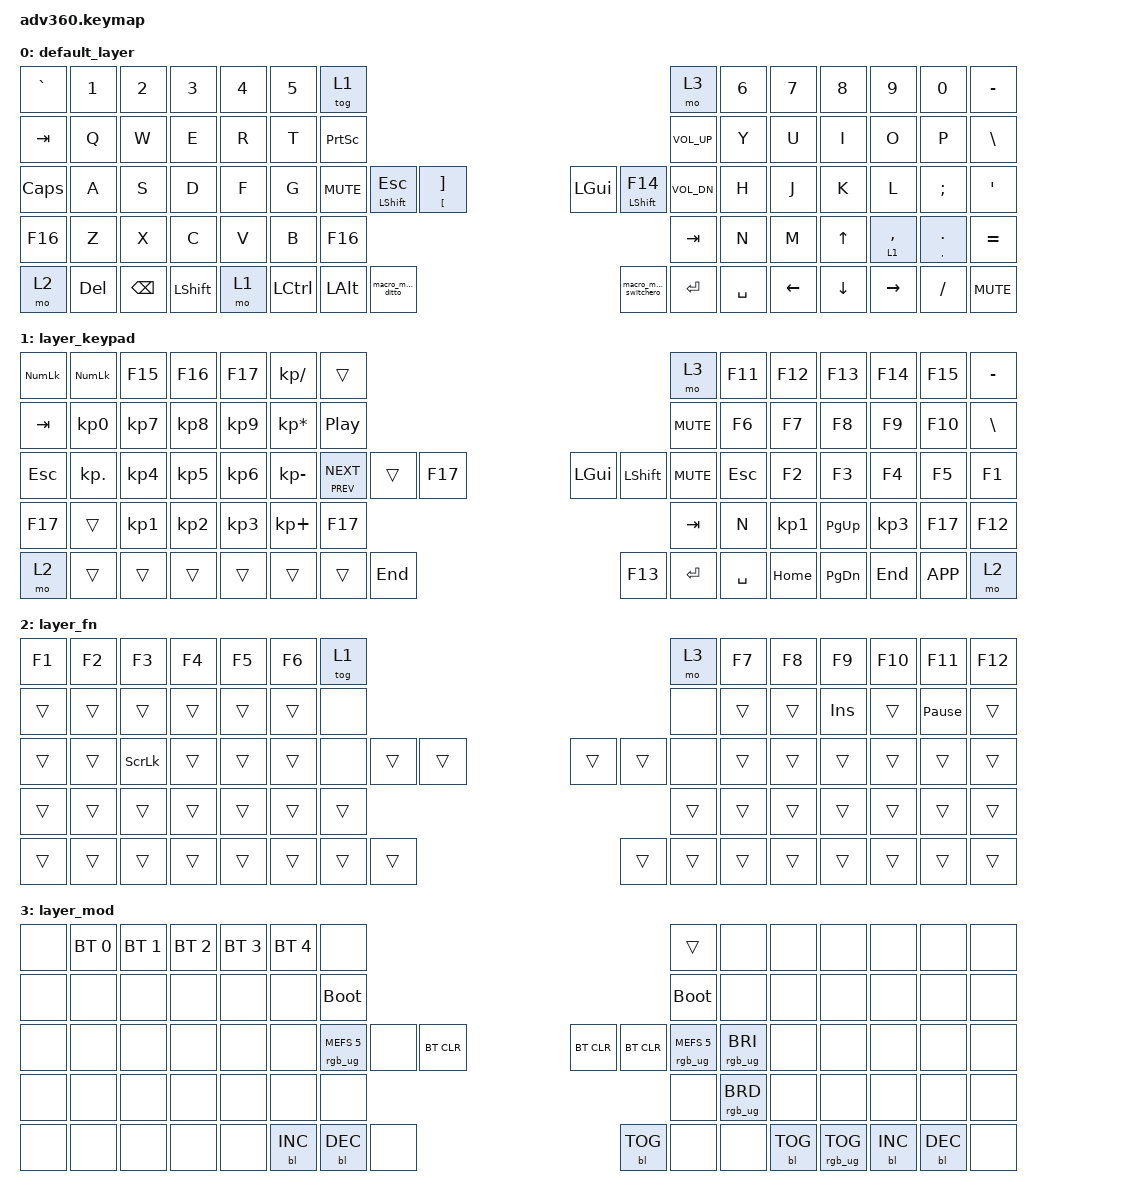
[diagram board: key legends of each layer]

/*
 * Copyright (c) 2020 The ZMK Contributors
 *
 * SPDX-License-Identifier: MIT
 */


/* THIS FILE WAS GENERATED!
 *
 * This file was generated automatically. You may or may not want to
 * edit it directly.
 */

#include <behaviors.dtsi>
#include <dt-bindings/zmk/keys.h>
#include <dt-bindings/zmk/bt.h>
#include <dt-bindings/zmk/rgb.h>
#include <dt-bindings/zmk/backlight.h>

/ {
  behaviors {
    #include "macros.dtsi"
      #include "version.dtsi"
      #ifndef VERSION_MACRO
      macro_ver: macro_ver {
        compatible = "zmk,behavior-macro";
        label = "macro_version";
        #binding-cells = <0>;
        bindings = <&kp RET>;
      };
      #endif

    hm: homerow_mods {
        compatible = "zmk,behavior-hold-tap";
        label = "HOMEROW_MODS";
        #binding-cells = <2>;
        tapping-term-ms = <200>;
        quick_tap_ms = <175>;
        flavor = "tap-preferred";
        bindings = <&kp>, <&kp>;
    };
  };

    keymap {
        compatible = "zmk,keymap";


        default_layer {
            bindings = <
 &kp GRAVE   &kp N1         &kp N2          &kp N3  &kp N4  &kp N5                     &tog 1                                                                                                                          &mo 3  &kp N6    &kp N7    &kp N8       &kp N9            &kp N0   &kp MINUS
   &kp TAB    &kp Q          &kp W           &kp E   &kp R   &kp T            &kp PRINTSCREEN                                                                                                                   &kp C_VOL_UP   &kp Y     &kp U     &kp I        &kp O             &kp P    &kp BSLH
  &kp CAPS    &kp A          &kp S           &kp D   &kp F   &kp G                 &kp C_MUTE  &mt LEFT_SHIFT ESC  &mt LEFT_BRACKET RIGHT_BRACKET                                &kp LGUI  &mt LEFT_SHIFT F14   &kp C_VOL_DN   &kp H     &kp J     &kp K        &kp L          &kp SEMI     &kp SQT
   &kp F16    &kp Z          &kp X           &kp C   &kp V   &kp B                                                                        &kp F16                                 &kp TAB                                      &kp N     &kp M    &kp UP  &lt 1 COMMA  &mt COMMA PERIOD   &kp EQUAL
     &mo 2  &kp DEL  &kp BACKSPACE  &kp LEFT_SHIFT   &mo 1                          &kp LCTRL        &kp LEFT_ALT              &macro_macro_ditto                  &macro_macro_switchero           &kp ENTER      &kp SPACE          &kp LEFT  &kp DOWN    &kp RIGHT         &kp SLASH  &kp C_MUTE
            >;
        };

        layer_keypad {
            bindings = <
 &kp KP_NUM  &kp KP_NUMLOCK    &kp F15    &kp F16    &kp F17     &kp KP_SLASH                             &trans                                                                  &mo 3  &kp F11    &kp F12    &kp F13    &kp F14    &kp F15  &kp MINUS
    &kp TAB       &kp KP_N0  &kp KP_N7  &kp KP_N8  &kp KP_N9  &kp KP_MULTIPLY                   &kp C_PLAY_PAUSE                                                             &kp C_MUTE   &kp F6     &kp F7     &kp F8     &kp F9    &kp F10   &kp BSLH
    &kp ESC      &kp KP_DOT  &kp KP_N4  &kp KP_N5  &kp KP_N6     &kp KP_MINUS            &mt C_PREV C_NEXT  &trans  &kp F17                  &kp LGUI  &kp LEFT_SHIFT  &kp C_MUTE  &kp ESC     &kp F2     &kp F3     &kp F4     &kp F5     &kp F1
    &kp F17          &trans  &kp KP_N1  &kp KP_N2  &kp KP_N3      &kp KP_PLUS                                             &kp F17                   &kp TAB                                &kp N  &kp KP_N1  &kp PG_UP  &kp KP_N3    &kp F17    &kp F12
      &mo 2          &trans     &trans     &trans     &trans                                              &trans  &trans  &kp END                   &kp F13       &kp ENTER   &kp SPACE            &kp HOME  &kp PG_DN    &kp END  &kp K_APP      &mo 2
            >;
        };

        layer_fn {
            bindings = <
 &kp F1  &kp F2    &kp F3  &kp F4  &kp F5  &kp F6            &tog 1                                                   &mo 3  &kp F7  &kp F8   &kp F9  &kp F10          &kp F11  &kp F12
 &trans  &trans    &trans  &trans  &trans  &trans             &none                                                   &none  &trans  &trans  &kp INS   &trans  &kp PAUSE_BREAK   &trans
 &trans  &trans  &kp SLCK  &trans  &trans  &trans             &none  &trans  &trans                  &trans  &trans   &none  &trans  &trans   &trans   &trans           &trans   &trans
 &trans  &trans    &trans  &trans  &trans  &trans                            &trans                  &trans                  &trans  &trans   &trans   &trans           &trans   &trans
 &trans  &trans    &trans  &trans  &trans                    &trans  &trans  &trans                  &trans  &trans  &trans          &trans   &trans   &trans           &trans   &trans
            >;
        };

        layer_mod {
            bindings = <
  &none  &bt BT_SEL 0  &bt BT_SEL 1  &bt BT_SEL 2  &bt BT_SEL 3  &bt BT_SEL 4                             &none                                                                                  &trans   &none       &none            &none       &none       &none   &none
  &none         &none         &none         &none         &none         &none                       &bootloader                                                                             &bootloader   &none       &none            &none       &none       &none   &none
  &none         &none         &none         &none         &none         &none            &rgb_ug RGB_MEFS_CMD 5       &none  &bt BT_CLR                  &bt BT_CLR  &bt BT_CLR  &rgb_ug RGB_MEFS_CMD 5   &rgb_ug RGB_BRI       &none            &none       &none       &none   &none
  &none         &none         &none         &none         &none         &none                                                     &none                       &none                                       &rgb_ug RGB_BRD      &none            &none       &none       &none   &none
  &none         &none         &none         &none         &none                                      &bl BL_INC  &bl BL_DEC       &none                  &bl BL_TOG       &none                   &none          &bl BL_TOG  &rgb_ug RGB_TOG  &bl BL_INC  &bl BL_DEC   &none
            >;
        };

    };
};
